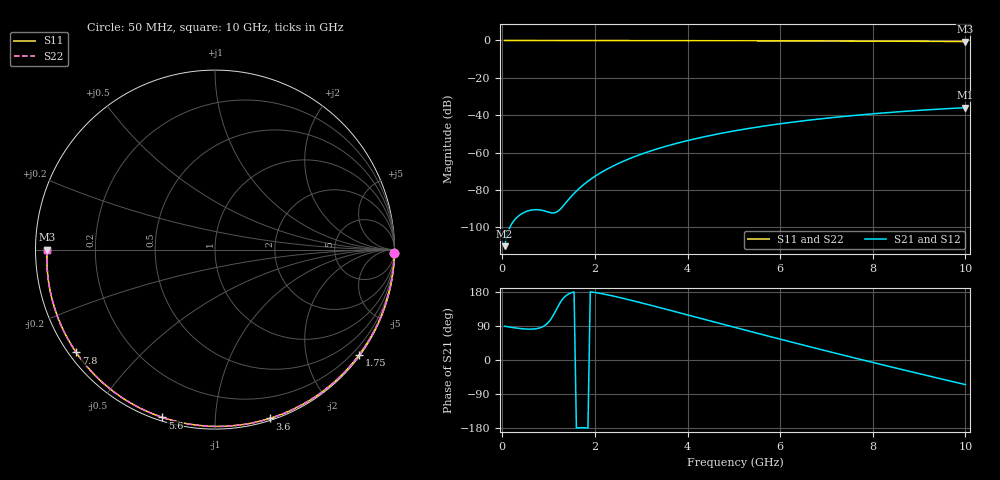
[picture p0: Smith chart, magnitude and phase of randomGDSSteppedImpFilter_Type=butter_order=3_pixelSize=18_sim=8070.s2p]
! freq	dB(S11)	phase(S11)	dB(S12)	phase(S12)
!  dB(S21)	phase(S21)	dB(S22)	phase(S22)
!S-par simulation data
#  GHz  S  DB  R 50
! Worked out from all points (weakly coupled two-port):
!   200 points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, 50 MHz to 10 GHz, reference 50 ohm
!   highest |S21| = -35.97 dB at 10 GHz (marker M1); lowest = -110.0 dB at 50 MHz (marker M2)
!   lowest |S11| = -0.6 dB at 10 GHz (marker M3), VSWR 30.12, Z = 1.66 - j0.033 ohm
!   |S11| at or under -10 dB: nowhere
!   |S22| runs from -0.6 to 0.0 dB; largest |S21 - S12| = 0
!   S11 on the Smith chart (normalised r, x): 50 MHz: open; 1.75 GHz: 0.03, -3.06; 3.6 GHz: 0.02, -1.37; 5.6 GHz: 0.02, -0.73; 7.8 GHz: 0.02, -0.33; 10 GHz: 0.03, -0.00
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0.05  -0.00 -1.1  -110.04 89.0  -110.04 89.0  -0.00 -1.1
0.4  -0.01 -8.4  -92.98 82.8  -92.98 82.8  -0.01 -8.4
0.8  -0.02 -16.8  -90.62 84.4  -90.62 84.4  -0.02 -16.8
1.6  -0.04 -33.2  -80.56 -179.3  -80.56 -179.3  -0.04 -33.2
1.65  -0.04 -34.2  -79.39 -178.8  -79.39 -178.8  -0.04 -34.2
1.75  -0.05 -36.2  -77.23 -178.6  -77.23 -178.6  -0.05 -36.2
2.05  -0.05 -42.2  -71.88 177.2  -71.88 177.2  -0.05 -42.2
2.25  -0.06 -46.2  -68.99 172.6  -68.99 172.6  -0.06 -46.2
2.45  -0.06 -50.1  -66.47 167.3  -66.47 167.3  -0.06 -50.1
2.9  -0.08 -58.9  -61.75 154.0  -61.75 154.0  -0.08 -58.9
3.4  -0.09 -68.3  -57.57 138.3  -57.57 138.3  -0.09 -68.3
3.6  -0.10 -72.1  -56.13 131.9  -56.13 131.9  -0.10 -72.1
4.3  -0.12 -84.8  -51.84 109.3  -51.84 109.3  -0.12 -84.8
5.05  -0.15 -98.0  -48.20 85.2  -48.20 85.2  -0.15 -98.0
5.6  -0.18 -107.4  -45.99 67.6  -45.99 67.6  -0.18 -107.4
6.15  -0.21 -116.6  -44.08 50.3  -44.08 50.3  -0.21 -116.6
6.7  -0.24 -125.6  -42.41 33.1  -42.41 33.1  -0.24 -125.6
7.25  -0.28 -134.6  -40.95 16.2  -40.95 16.2  -0.28 -134.6
7.8  -0.33 -143.5  -39.67 -0.4  -39.67 -0.4  -0.33 -143.5
8.35  -0.38 -152.4  -38.54 -16.9  -38.54 -16.9  -0.38 -152.4
9.2  -0.48 -166.4  -37.07 -41.9  -37.07 -41.9  -0.48 -166.4
10  -0.58 -179.9  -35.97 -64.9  -35.97 -64.9  -0.58 -179.9
